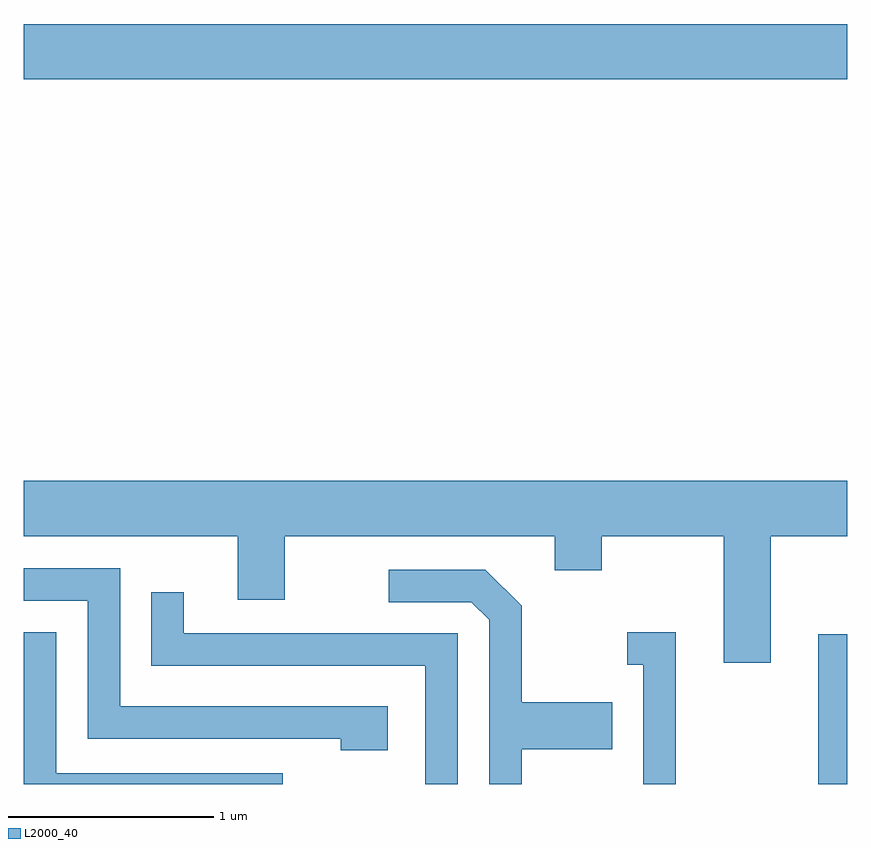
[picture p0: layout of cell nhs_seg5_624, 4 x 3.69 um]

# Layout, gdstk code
import gdstk
lib = gdstk.Library(unit=1e-6, precision=1e-09)
def R(c, l, rs):  # rectangles x0, y0, x1, y1
    for r in rs: c.add(gdstk.rectangle(r[:2], r[2:], *l))
def P(c, l, *ps):  # polygons
    for p in ps: c.add(gdstk.Polygon(p, *l))
L2000_40 = (2000, 40)

nhs_seg5_624 = lib.new_cell('nhs_seg5_624')
R(nhs_seg5_624, L2000_40, [(207.471,1420.072,207.611,1420.799), (203.611,1423.496,207.611,1423.764)])
P(nhs_seg5_624, L2000_40, [(207.239,1421.276),(207.611,1421.276),(207.611,1421.544),(203.611,1421.544),(203.611,1421.276),(204.651,1421.276),(204.651,1420.966),(204.879,1420.966),(204.879,1421.276),(206.191,1421.276),(206.191,1421.111),(206.419,1421.111),(206.419,1421.276),(207.011,1421.276),(207.011,1420.661),(207.239,1420.661)],
  [(205.379,1420.449),(204.079,1420.449),(204.079,1421.119),(203.611,1421.119),(203.611,1420.961),(203.921,1420.961),(203.921,1420.291),(205.151,1420.291),(205.151,1420.236),(205.379,1420.236)],
  [(206.029,1420.241),(206.469,1420.241),(206.469,1420.469),(206.029,1420.469),(206.029,1420.937),(205.852,1421.114),(205.383,1421.114),(205.383,1420.956),(205.784,1420.956),(205.871,1420.869),(205.871,1420.072),(206.029,1420.072)],
  [(205.719,1420.804),(204.389,1420.804),(204.389,1421.003),(204.231,1421.003),(204.231,1420.646),(205.561,1420.646),(205.561,1420.072),(205.719,1420.072)],
  [(204.868,1420.124),(203.769,1420.124),(203.769,1420.809),(203.611,1420.809),(203.611,1420.072),(204.868,1420.072)],
  [(206.779,1420.809),(206.543,1420.809),(206.543,1420.651),(206.621,1420.651),(206.621,1420.072),(206.779,1420.072)])

lib.write_gds('nhs_seg5_624.gds')
